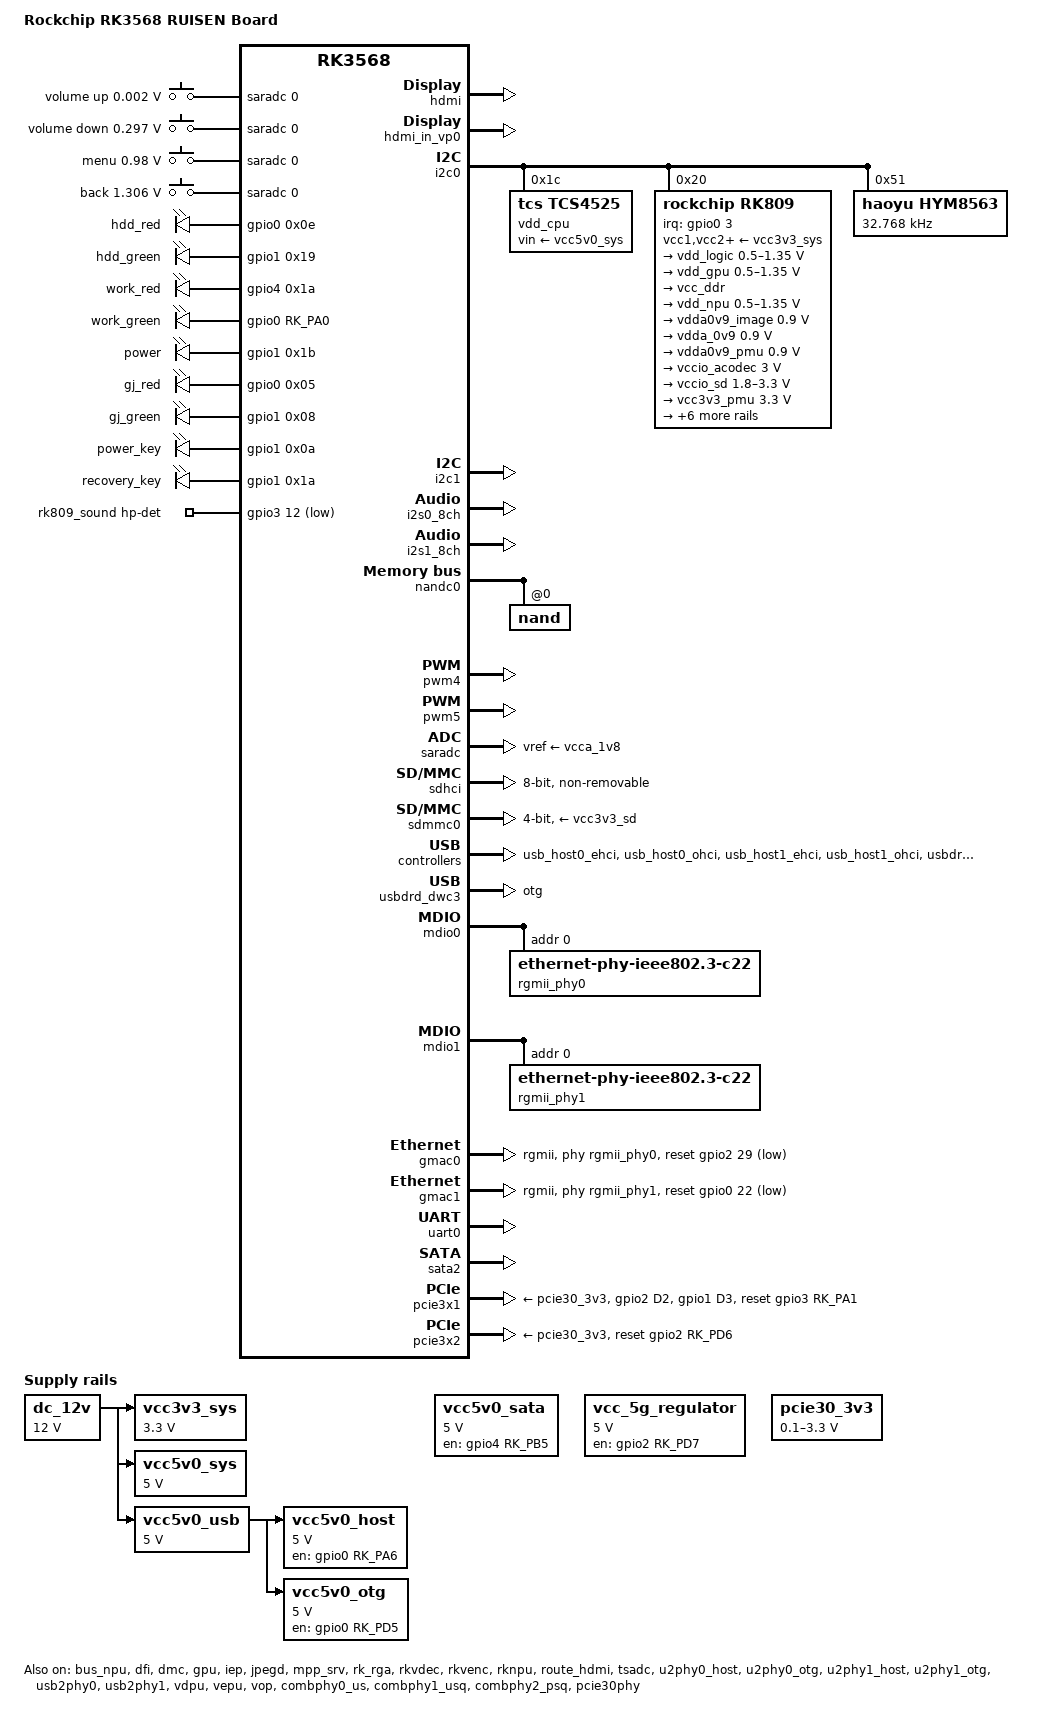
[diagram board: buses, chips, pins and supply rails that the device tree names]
// SPDX-License-Identifier: (GPL-2.0+ OR MIT)
/*
 * Copyright (c) 2020 Rockchip Electronics Co., Ltd.
 *
 */

/dts-v1/;

#include <dt-bindings/gpio/gpio.h>
#include <dt-bindings/pwm/pwm.h>
#include <dt-bindings/pinctrl/rockchip.h>
#include <dt-bindings/input/rk-input.h>
#include <dt-bindings/display/drm_mipi_dsi.h>
#include <dt-bindings/sensor-dev.h>
#include <dt-bindings/display/media-bus-format.h>
#include "rk3568.dtsi"
#include "rk3568-linux.dtsi"

/ {
	model = "Rockchip RK3568 RUISEN Board";

	chosen: chosen {
		bootargs = "earlycon=uart8250,mmio32,0xfe660000 console=ttyFIQ0";
	};

    adc_keys: adc-keys {
        compatible = "adc-keys";
        io-channels = <&saradc 0>;
        io-channel-names = "buttons";
        keyup-threshold-microvolt = <1800000>;
        poll-interval = <100>;

        vol-up-key {
            label = "volume up";
            linux,code = <115>;
            press-threshold-microvolt = <1750>;
        };

        vol-down-key {
            label = "volume down";
            linux,code = <114>;
            press-threshold-microvolt = <297500>;
        };

        menu-key {
            label = "menu";
            linux,code = <139>;
            press-threshold-microvolt = <980000>;
        };

        back-key {
            label = "back";
            linux,code = <158>;
            press-threshold-microvolt = <1305500>;
        };
    };

	audiopwmout_diff: audiopwmout-diff {
		status = "disabled";
		compatible = "simple-audio-card";
		simple-audio-card,format = "i2s";
		simple-audio-card,name = "rockchip,audiopwmout-diff";
		simple-audio-card,mclk-fs = <256>;
		simple-audio-card,bitclock-master = <&master>;
		simple-audio-card,frame-master = <&master>;
		simple-audio-card,cpu {
			sound-dai = <&i2s3_2ch>;
		};
		master: simple-audio-card,codec {
			sound-dai = <&dig_acodec>;
		};
	};

	dc_12v: dc-12v {
		compatible = "regulator-fixed";
		regulator-name = "dc_12v";
		regulator-always-on;
		regulator-boot-on;
		regulator-min-microvolt = <12000000>;
		regulator-max-microvolt = <12000000>;
	};

	hdmi_sound: hdmi-sound {
		compatible = "simple-audio-card";
		simple-audio-card,format = "i2s";
		simple-audio-card,mclk-fs = <128>;
		simple-audio-card,name = "rockchip,hdmi";
		status = "disabled";

		simple-audio-card,cpu {
				sound-dai = <&i2s0_8ch>;
		};
		simple-audio-card,codec {
				sound-dai = <&hdmi>;
		};
	};

	gpio-leds {
		compatible = "gpio-leds";

		hdd-red {
			gpios = <&gpio0 0x0e 0x00>;
			label = "hdd_red";
			default-state = "off";
		};

		hdd-green {
			gpios = <&gpio1 0x19 0x00>;
			label = "hdd_green";
			default-state = "on";
            linux,default-trigger = "disk-activity";
		};

		work-red {
			gpios = <&gpio4 0x1a 0x00>;
			label = "work_red";
			default-state = "off";
		};

		work-green {
			gpios = <&gpio0 RK_PA0 0x00>;
			label = "work_green";
			default-state = "on";
            linux,default-trigger = "heartbeat";
		};

		power {
			gpios = <&gpio1 0x1b 0x00>;
			label = "power";
			default-state = "on";
		};

		gj-red {
			gpios = <&gpio0 0x05 0x00>;
			label = "gj_red";
			default-state = "off";
		};

		gj-green {
			gpios = <&gpio1 0x08 0x00>;
			label = "gj_green";
			default-state = "on";
		};

		power-key {
			gpios = <&gpio1 0x0a 0x00>;
			label = "power_key";
			default-state = "on";
		};

		recovery-key {
			gpios = <&gpio1 0x1a 0x00>;
			label = "recovery_key";
			default-state = "on";
		};
	};


	pdmics: dummy-codec {
		status = "disabled";
		compatible = "rockchip,dummy-codec";
		#sound-dai-cells = <0>;
	};

	pdm_mic_array: pdm-mic-array {
		status = "disabled";
		compatible = "simple-audio-card";
		simple-audio-card,name = "rockchip,pdm-mic-array";
		simple-audio-card,cpu {
			sound-dai = <&pdm>;
		};
		simple-audio-card,codec {
			sound-dai = <&pdmics>;
		};
	};

	rk809_sound: rk809-sound {
		status = "okay";
		compatible = "rockchip,multicodecs-card";
		rockchip,card-name = "rockchip-rk809";
        hp-det-gpio = <&gpio3 12 GPIO_ACTIVE_LOW>;
		rockchip,format = "i2s";
		rockchip,mclk-fs = <256>;
		rockchip,cpu = <&i2s1_8ch>;
		rockchip,codec = <&rk809_codec>;
		pinctrl-names = "default";
		pinctrl-0 = <&hp_det>;
	};

	vad_sound: vad-sound {
		status = "disabled";
		compatible = "rockchip,multicodecs-card";
		rockchip,card-name = "rockchip,rk3568-vad";
		rockchip,cpu = <&i2s1_8ch>;
		rockchip,codec = <&rk809_codec>, <&vad>;
	};

	vcc3v3_sys: vcc3v3-sys {
		compatible = "regulator-fixed";
		regulator-name = "vcc3v3_sys";
		regulator-always-on;
		regulator-boot-on;
		regulator-min-microvolt = <3300000>;
		regulator-max-microvolt = <3300000>;
		vin-supply = <&dc_12v>;
	};

	vcc5v0_sys: vcc5v0-sys {
		compatible = "regulator-fixed";
		regulator-name = "vcc5v0_sys";
		regulator-always-on;
		regulator-boot-on;
		regulator-min-microvolt = <5000000>;
		regulator-max-microvolt = <5000000>;
		vin-supply = <&dc_12v>;
	};

	vcc5v0_usb: vcc5v0-usb {
		compatible = "regulator-fixed";
		regulator-name = "vcc5v0_usb";
		regulator-always-on;
		regulator-boot-on;
		regulator-min-microvolt = <5000000>;
		regulator-max-microvolt = <5000000>;
		vin-supply = <&dc_12v>;
	};

	vcc5v0_host: vcc5v0-host-regulator {
		compatible = "regulator-fixed";
		regulator-name = "vcc5v0_host";
		regulator-boot-on;
		regulator-always-on;
		regulator-min-microvolt = <5000000>;
		regulator-max-microvolt = <5000000>;
		enable-active-high;
		gpio = <&gpio0 RK_PA6 GPIO_ACTIVE_HIGH>;
		vin-supply = <&vcc5v0_usb>;
		pinctrl-names = "default";
		pinctrl-0 = <&vcc5v0_host_en>;
	};

	vcc5v0_otg: vcc5v0-otg-regulator {
		compatible = "regulator-fixed";
		regulator-name = "vcc5v0_otg";
		regulator-min-microvolt = <5000000>;
		regulator-max-microvolt = <5000000>;
		enable-active-high;
		gpio = <&gpio0 RK_PD5 GPIO_ACTIVE_HIGH>;
		vin-supply = <&vcc5v0_usb>;
		pinctrl-names = "default";
		pinctrl-0 = <&vcc5v0_otg_en>;
	};

	vcc5v0-sata-regulator {
		compatible = "regulator-fixed";
		regulator-name = "vcc5v0_sata";
		regulator-boot-on;
		regulator-always-on;
		regulator-min-microvolt = <0x4c4b40>;
		regulator-max-microvolt = <0x4c4b40>;
		enable-active-high;
		gpio = <&gpio4 RK_PB5 GPIO_ACTIVE_HIGH>;
	};

	vcc_5g_regulator: vcc-5g-regulator {
		compatible = "regulator-fixed";
		gpio = <&gpio2 RK_PD7 GPIO_ACTIVE_HIGH>;
		regulator-name = "vcc_5g";
        pinctrl-names = "default";
        pinctrl-0 = <&vcc_5g_drv>;
		regulator-boot-on;
		regulator-always-on;
		regulator-min-microvolt = <0x4c4b40>;
		regulator-max-microvolt = <0x4c4b40>;
		enable-active-high;
	};

    pcie30_3v3: gpio-regulator {
        compatible = "regulator-gpio";
        regulator-name = "pcie30_3v3";
        regulator-min-microvolt = <100000>;
        regulator-max-microvolt = <3300000>;
        gpios = <&gpio0 28 0>;
        gpios-states = <0x1>;
        states = <100000 0x0 3300000 0x1>;
    };
};

&bus_npu {
	bus-supply = <&vdd_logic>;
	pvtm-supply = <&vdd_cpu>;
	status = "okay";
};

&cpu0 {
	cpu-supply = <&vdd_cpu>;
};

&dfi {
	status = "okay";
};

&dmc {
	center-supply = <&vdd_logic>;
	status = "okay";
};

&dsi0 {
	status = "disabled";
};

&dsi1 {
	status = "disabled";
};

&gpu {
	mali-supply = <&vdd_gpu>;
	status = "okay";
    interrupt-names = "gpu", "mmu", "job";
    clock-names = "gpu", "bus";

    /delete-property/ operating-points-v2;
};

&hdmi {
	status = "okay";
	rockchip,phy-table =
		<92812500  0x8009 0x0000 0x0270>,
		<165000000 0x800b 0x0000 0x026d>,
		<185625000 0x800b 0x0000 0x01ed>,
		<297000000 0x800b 0x0000 0x01ad>,
		<594000000 0x8029 0x0000 0x0088>,
		<000000000 0x0000 0x0000 0x0000>;
};

&hdmi_in_vp0 {
	status = "okay";
};

&hdmi_in_vp1 {
	status = "disabled";
};

&hdmi_sound {
	status = "okay";
};

&i2c0 {
	status = "okay";

	vdd_cpu: tcs4525@1c {
		compatible = "tcs,tcs4525";
		reg = <0x1c>;
		vin-supply = <&vcc5v0_sys>;
		regulator-compatible = "fan53555-reg";
		regulator-name = "vdd_cpu";
		regulator-min-microvolt = <712500>;
		regulator-max-microvolt = <1390000>;
		regulator-init-microvolt = <900000>;
		regulator-ramp-delay = <2300>;
		fcs,suspend-voltage-selector = <1>;
		regulator-boot-on;
		regulator-always-on;
		regulator-state-mem {
			regulator-off-in-suspend;
		};
	};

	rk809: pmic@20 {
		compatible = "rockchip,rk809";
		reg = <0x20>;
		interrupt-parent = <&gpio0>;
		interrupts = <3 IRQ_TYPE_LEVEL_LOW>;

		pinctrl-names = "default", "pmic-sleep",
				"pmic-power-off", "pmic-reset";
		pinctrl-0 = <&pmic_int>;
		pinctrl-1 = <&soc_slppin_slp>, <&rk817_slppin_slp>;
		pinctrl-2 = <&soc_slppin_gpio>, <&rk817_slppin_pwrdn>;
		pinctrl-3 = <&soc_slppin_gpio>, <&rk817_slppin_rst>;

		rockchip,system-power-controller;
		wakeup-source;
		#clock-cells = <1>;
		clock-output-names = "rk808-clkout1", "rk808-clkout2";
		//fb-inner-reg-idxs = <2>;
		/* 1: rst regs (default in codes), 0: rst the pmic */
		pmic-reset-func = <0>;
		/* not save the PMIC_POWER_EN register in uboot */
		not-save-power-en = <1>;

		vcc1-supply = <&vcc3v3_sys>;
		vcc2-supply = <&vcc3v3_sys>;
		vcc3-supply = <&vcc3v3_sys>;
		vcc4-supply = <&vcc3v3_sys>;
		vcc5-supply = <&vcc3v3_sys>;
		vcc6-supply = <&vcc3v3_sys>;
		vcc7-supply = <&vcc3v3_sys>;
		vcc8-supply = <&vcc3v3_sys>;
		vcc9-supply = <&vcc3v3_sys>;

		pwrkey {
			status = "okay";
		};

		pinctrl_rk8xx: pinctrl_rk8xx {
			gpio-controller;
			#gpio-cells = <2>;

			rk817_slppin_null: rk817_slppin_null {
				pins = "gpio_slp";
				function = "pin_fun0";
			};

			rk817_slppin_slp: rk817_slppin_slp {
				pins = "gpio_slp";
				function = "pin_fun1";
			};

			rk817_slppin_pwrdn: rk817_slppin_pwrdn {
				pins = "gpio_slp";
				function = "pin_fun2";
			};

			rk817_slppin_rst: rk817_slppin_rst {
				pins = "gpio_slp";
				function = "pin_fun3";
			};
		};

		regulators {
			vdd_logic: DCDC_REG1 {
				regulator-always-on;
				regulator-boot-on;
				regulator-min-microvolt = <500000>;
				regulator-max-microvolt = <1350000>;
				regulator-init-microvolt = <900000>;
				regulator-ramp-delay = <6001>;
				regulator-initial-mode = <0x2>;
				regulator-name = "vdd_logic";
				regulator-state-mem {
					regulator-off-in-suspend;
				};
			};

			vdd_gpu: DCDC_REG2 {
				regulator-always-on;
				regulator-boot-on;
				regulator-min-microvolt = <500000>;
				regulator-max-microvolt = <1350000>;
				regulator-init-microvolt = <900000>;
				regulator-ramp-delay = <6001>;
				regulator-initial-mode = <0x2>;
				regulator-name = "vdd_gpu";
				regulator-state-mem {
					regulator-off-in-suspend;
				};
			};

			vcc_ddr: DCDC_REG3 {
				regulator-always-on;
				regulator-boot-on;
				regulator-initial-mode = <0x2>;
				regulator-name = "vcc_ddr";
				regulator-state-mem {
					regulator-on-in-suspend;
				};
			};

			vdd_npu: DCDC_REG4 {
				regulator-always-on;
				regulator-boot-on;
				regulator-min-microvolt = <500000>;
				regulator-max-microvolt = <1350000>;
				regulator-init-microvolt = <900000>;
				regulator-ramp-delay = <6001>;
				regulator-initial-mode = <0x2>;
				regulator-name = "vdd_npu";
				regulator-state-mem {
					regulator-off-in-suspend;
				};
			};

			vdda0v9_image: LDO_REG1 {
				regulator-boot-on;
				regulator-always-on;
				regulator-min-microvolt = <900000>;
				regulator-max-microvolt = <900000>;
				regulator-name = "vdda0v9_image";
				regulator-state-mem {
					regulator-off-in-suspend;
				};
			};

			vdda_0v9: LDO_REG2 {
				regulator-always-on;
				regulator-boot-on;
				regulator-min-microvolt = <900000>;
				regulator-max-microvolt = <900000>;
				regulator-name = "vdda_0v9";
				regulator-state-mem {
					regulator-off-in-suspend;
				};
			};

			vdda0v9_pmu: LDO_REG3 {
				regulator-always-on;
				regulator-boot-on;
				regulator-min-microvolt = <900000>;
				regulator-max-microvolt = <900000>;
				regulator-name = "vdda0v9_pmu";
				regulator-state-mem {
					regulator-on-in-suspend;
					regulator-suspend-microvolt = <900000>;
				};
			};

			vccio_acodec: LDO_REG4 {
				regulator-always-on;
				regulator-boot-on;
				regulator-min-microvolt = <3000000>;
				regulator-max-microvolt = <3000000>;
				regulator-name = "vccio_acodec";
				regulator-state-mem {
					regulator-off-in-suspend;
				};
			};

			vccio_sd: LDO_REG5 {
				regulator-always-on;
				regulator-boot-on;
				regulator-min-microvolt = <1800000>;
				regulator-max-microvolt = <3300000>;
				regulator-name = "vccio_sd";
				regulator-state-mem {
					regulator-off-in-suspend;
				};
			};

			vcc3v3_pmu: LDO_REG6 {
				regulator-always-on;
				regulator-boot-on;
				regulator-min-microvolt = <3300000>;
				regulator-max-microvolt = <3300000>;
				regulator-name = "vcc3v3_pmu";
				regulator-state-mem {
					regulator-on-in-suspend;
					regulator-suspend-microvolt = <3300000>;
				};
			};

			vcca_1v8: LDO_REG7 {
				regulator-always-on;
				regulator-boot-on;
				regulator-min-microvolt = <1800000>;
				regulator-max-microvolt = <1800000>;
				regulator-name = "vcca_1v8";
				regulator-state-mem {
					regulator-off-in-suspend;
				};
			};

			vcca1v8_pmu: LDO_REG8 {
				regulator-always-on;
				regulator-boot-on;
				regulator-min-microvolt = <1800000>;
				regulator-max-microvolt = <1800000>;
				regulator-name = "vcca1v8_pmu";
				regulator-state-mem {
					regulator-on-in-suspend;
					regulator-suspend-microvolt = <1800000>;
				};
			};

			vcca1v8_image: LDO_REG9 {
				regulator-always-on;
				regulator-boot-on;
				regulator-min-microvolt = <1800000>;
				regulator-max-microvolt = <1800000>;
				regulator-name = "vcca1v8_image";
				regulator-state-mem {
					regulator-off-in-suspend;
				};
			};

			vcc_1v8: DCDC_REG5 {
				regulator-always-on;
				regulator-boot-on;
				regulator-min-microvolt = <1800000>;
				regulator-max-microvolt = <1800000>;
				regulator-name = "vcc_1v8";
				regulator-state-mem {
					regulator-off-in-suspend;
				};
			};

			vcc_3v3: SWITCH_REG1 {
				regulator-always-on;
				regulator-boot-on;
				regulator-name = "vcc_3v3";
				regulator-state-mem {
					regulator-off-in-suspend;
				};
			};

			vcc3v3_sd: SWITCH_REG2 {
				regulator-always-on;
				regulator-boot-on;
				regulator-name = "vcc3v3_sd";
				regulator-state-mem {
					regulator-off-in-suspend;
				};
			};
		};

		rk809_codec: codec {
			#sound-dai-cells = <1>;
			compatible = "rockchip,rk809-codec", "rockchip,rk817-codec";
			clocks = <&cru I2S1_MCLKOUT>;
			clock-names = "mclk";
			assigned-clocks = <&cru I2S1_MCLKOUT>, <&cru I2S1_MCLK_TX_IOE>;
			assigned-clock-rates = <12288000>;
			assigned-clock-parents = <&cru I2S1_MCLKOUT_TX>, <&cru I2S1_MCLKOUT_TX>;
			pinctrl-names = "default";
			pinctrl-0 = <&i2s1m0_mclk>;
			hp-volume = <20>;
			spk-volume = <3>;
			mic-in-differential;
			status = "okay";
		};
	};
};

&i2c1 {
	status = "okay";
};

&i2c0 {
    status = "okay";
    hym8563: hym8563@51 {
        compatible = "haoyu,hym8563";
        reg = <0x51>;
        #clock-cells = <0>;
        clock-frequency = <32768>;
        clock-output-names = "xin32k";
        status = "okay";
    };
};

&i2s0_8ch {
	status = "okay";
};

&i2s1_8ch {
	status = "okay";
	rockchip,clk-trcm = <1>;
	pinctrl-names = "default";
	pinctrl-0 = <&i2s1m0_sclktx
		     &i2s1m0_lrcktx
		     &i2s1m0_sdi0
		     &i2s1m0_sdo0>;
};

&i2s3_2ch {
	pinctrl-0 = <&i2s3m0_sclk &i2s3m0_lrck &i2s3m0_sdi &i2s3m0_sdo>;
	rockchip,bclk-fs = <32>;
	status = "disabled";
};

&iep {
	status = "okay";
};

&iep_mmu {
	status = "okay";
};

&jpegd {
	status = "okay";
};

&jpegd_mmu {
	status = "okay";
};

&mpp_srv {
	status = "okay";
};

&nandc0 {
	#address-cells = <1>;
	#size-cells = <0>;
	status = "okay";

	nand@0 {
		reg = <0>;
		nand-bus-width = <8>;
		nand-ecc-mode = "hw";
		nand-ecc-strength = <16>;
		nand-ecc-step-size = <1024>;
	};
};

&pinctrl {

	headphone {
		hp_det: hp-det {
			rockchip,pins = <3 12 RK_FUNC_GPIO &pcfg_pull_down>;
		};
	};

	pmic {
		pmic_int: pmic_int {
			rockchip,pins =
				<0 RK_PA3 RK_FUNC_GPIO &pcfg_pull_up>;
		};

		soc_slppin_gpio: soc_slppin_gpio {
			rockchip,pins =
				<0 RK_PA2 RK_FUNC_GPIO &pcfg_output_low>;
		};

		soc_slppin_slp: soc_slppin_slp {
			rockchip,pins =
				<0 RK_PA2 1 &pcfg_pull_none>;
		};

		soc_slppin_rst: soc_slppin_rst {
			rockchip,pins =
				<0 RK_PA2 2 &pcfg_pull_none>;
		};
	};

	usb {
		vcc5v0_host_en: vcc5v0-host-en {
			rockchip,pins = <0 RK_PA6 RK_FUNC_GPIO &pcfg_pull_none>;
		};

		vcc5v0_otg_en: vcc5v0-otg-en {
			rockchip,pins = <0 RK_PD5 RK_FUNC_GPIO &pcfg_pull_none>;
		};
	};

    4g-5g-vcc {
        vcc_5g_drv: vcc-5g-drv {
            rockchip,pins =
            <2 31 0 &pcfg_output_high>,
            <4 12 0 &pcfg_output_high>,
            <0 23 0 &pcfg_output_low>,
            <3 0 0 &pcfg_output_high>;
        };
    };

    gmac {
        rgmii0_sleep_pins: rgmii0-sleep-pins {
            rockchip,pins =
            <2 28 0 &pcfg_output_low>;
        };

        rgmii1_sleep_pins: rgmii1-sleep-pins {
            rockchip,pins =
            <2 25 0 &pcfg_output_low>;
        };

    };

    pcie {
        pcie_clkreqn_cpm: pcie-clkreqn-cpm {
            rockchip,pins = <2 RK_PD2 RK_FUNC_GPIO &pcfg_pull_none>;
        };

        pcie_en: pcie-en {
            rockchip,pins = <1 RK_PD3 RK_FUNC_GPIO &pcfg_output_high>;
        };
    };
};

 /*
  * There are 10 independent IO domains in RK3566/RK3568, including PMUIO[0:2] and VCCIO[1:7].
  * 1/ PMUIO0 and PMUIO1 are fixed-level power domains which cannot be configured;
  * 2/ PMUIO2 and VCCIO1,VCCIO[3:7] domains require that their hardware power supply voltages
  *    must be consistent with the software configuration correspondingly
  *	a/ When the hardware IO level is connected to 1.8V, the software voltage configuration
  *	   should also be configured to 1.8V accordingly;
  *	b/ When the hardware IO level is connected to 3.3V, the software voltage configuration
  *	   should also be configured to 3.3V accordingly;
  * 3/ VCCIO2 voltage control selection (0xFDC20140)
  *	BIT[0]: 0x0: from GPIO_0A7 (default)
  *	BIT[0]: 0x1: from GRF
  *    Default is determined by Pin FLASH_VOL_SEL/GPIO0_A7:
  *	L:VCCIO2 must supply 3.3V
  *	H:VCCIO2 must supply 1.8V
  */
&pmu_io_domains {
    status = "okay";
    pmuio1-supply = <&vcc3v3_pmu>;
    pmuio2-supply = <&vcc3v3_pmu>;
    vccio1-supply = <&vccio_acodec>;
    vccio3-supply = <&vccio_sd>;
    vccio4-supply = <&vcc_3v3>;
    vccio5-supply = <&vcc_3v3>;
    vccio6-supply = <&vcc_3v3>;
    vccio7-supply = <&vcc_3v3>;
};

&pwm4 {
	status = "okay";
};

&pwm5 {
	status = "okay";
};

&rk_rga {
	status = "okay";
};

&rkvdec {
	status = "okay";
};

&rkvdec_mmu {
	status = "okay";
};

&rkvenc {
	venc-supply = <&vdd_logic>;
	status = "okay";
};

&rkvenc_mmu {
	status = "okay";
};

&rknpu {
	rknpu-supply = <&vdd_npu>;
	status = "okay";
};

&rknpu_mmu {
	status = "okay";
};

&route_hdmi {
	status = "okay";
	connect = <&vp0_out_hdmi>;
};

&saradc {
	status = "okay";
	vref-supply = <&vcca_1v8>;
};

&sdhci {
	bus-width = <8>;
	no-sdio;
	no-sd;
	non-removable;
	max-frequency = <200000000>;
	full-pwr-cycle-in-suspend;
	status = "okay";
};

&sdmmc0 {
	max-frequency = <150000000>;
	no-sdio;
	no-mmc;
	bus-width = <4>;
	cap-mmc-highspeed;
	cap-sd-highspeed;
	disable-wp;
	sd-uhs-sdr104;
	vmmc-supply = <&vcc3v3_sd>;
	vqmmc-supply = <&vccio_sd>;
	pinctrl-names = "default";
	pinctrl-0 = <&sdmmc0_bus4 &sdmmc0_clk &sdmmc0_cmd &sdmmc0_det>;
	status = "okay";
};

&tsadc {
	status = "okay";
};

&u2phy0_host {
	phy-supply = <&vcc5v0_host>;
	status = "okay";
};

&u2phy0_otg {
	vbus-supply = <&vcc5v0_otg>;
	status = "okay";
};

&u2phy1_host {
	phy-supply = <&vcc5v0_host>;
	status = "okay";
};

&u2phy1_otg {
	phy-supply = <&vcc5v0_host>;
	status = "okay";
};

&usb2phy0 {
	status = "okay";
};

&usb2phy1 {
	status = "okay";
};

&usb_host0_ehci {
	status = "okay";
};

&usb_host0_ohci {
	status = "okay";
};

&usb_host1_ehci {
	status = "okay";
};

&usb_host1_ohci {
	status = "okay";
};

&usbdrd_dwc3 {
	dr_mode = "otg";
	extcon = <&usb2phy0>;
	status = "okay";
};

&usbdrd30 {
	status = "okay";
};

&usbhost_dwc3 {
	status = "okay";
};

&usbhost30 {
	status = "okay";
};

&vad {
	rockchip,audio-src = <&i2s1_8ch>;
	rockchip,buffer-time-ms = <128>;
	rockchip,det-channel = <0>;
	rockchip,mode = <0>;
};

&vdpu {
	status = "okay";
};

&vdpu_mmu {
	status = "okay";
};

&vepu {
	status = "okay";
};

&vepu_mmu {
	status = "okay";
};

&vop {
	status = "okay";
	assigned-clocks = <&cru DCLK_VOP0>, <&cru DCLK_VOP1>, <&cru DCLK_VOP2>;
	assigned-clock-parents = <&pmucru PLL_HPLL>, <&cru PLL_VPLL>, <&cru PLL_GPLL>;
};

&vop_mmu {
	status = "okay";
};


&mdio0 {
	rgmii_phy0: phy@0 {
		compatible = "ethernet-phy-ieee802.3-c22";
		reg = <0x0>;
	};
};

&mdio1 {
	rgmii_phy1: phy@0 {
		compatible = "ethernet-phy-ieee802.3-c22";
		reg = <0x0>;
        /* clocks = <&cru CLK_MAC1_OUT>; */
	};
};

&gmac0 {
	phy-mode = "rgmii";
	clock_in_out = "output";

    snps,reset-gpio = <&gpio2 29 GPIO_ACTIVE_LOW>;
	snps,reset-active-low;
    snps,reset-delays-us = <0 10000 50000>;

	assigned-clocks = <&cru SCLK_GMAC0_RX_TX>, <&cru SCLK_GMAC0>;
	assigned-clock-parents = <&cru SCLK_GMAC0_RGMII_SPEED>, <&cru CLK_MAC0_2TOP>;
    assigned-clock-rates = <0>, <125000000>;
    /* assigned-clock-rates = <0>, <125000000>, <25000000>; */

	pinctrl-names = "default";
	pinctrl-0 = <&gmac0_miim
		     &gmac0_tx_bus2
		     &gmac0_rx_bus2
		     &gmac0_rgmii_clk
		     &gmac0_rgmii_bus>;
    pinctrl-1 = <&rgmii0_sleep_pins>;

	tx_delay = <0x2c>;
	rx_delay = <0x1a>;

	phy-handle = <&rgmii_phy0>;
	status = "okay";
};

&gmac1 {
    phy-mode = "rgmii";
	clock_in_out = "output";

    snps,reset-gpio = <&gpio0 22 1>;
	snps,reset-active-low;
    snps,reset-delays-us = <0 20000 100000>;

    assigned-clocks = <&cru SCLK_GMAC1_RX_TX>, <&cru SCLK_GMAC1>;
    assigned-clock-parents = <&cru SCLK_GMAC1_RGMII_SPEED>, <&cru CLK_MAC1_2TOP>;
    /* assigned-clock-rates = <0>, <125000000>; */
    assigned-clock-rates = <0>, <125000000>, <25000000>;

    pinctrl-names = "default";
    pinctrl-0 = <&gmac1m0_miim
             &gmac1m0_tx_bus2
             &gmac1m0_rx_bus2
             &gmac1m0_rgmii_clk
             &gmac1m0_rgmii_bus>;
    pinctrl-1 = <&rgmii1_sleep_pins>;


    tx_delay = <0x2c>;
    rx_delay = <0x1a>;

	phy-handle = <&rgmii_phy1>;
	status = "okay";
};

&uart0 {
	status = "okay";
	pinctrl-names = "default";
	pinctrl-0 = <&uart0_xfer &uart0_ctsn>;
};

&combphy0_us {
    status = "okay";
};

&combphy1_usq {
    status = "okay";
};

&combphy2_psq {
    status = "okay";
};

&sata2 {
	status = "okay";
};

&pcie30phy {
	status = "okay";
};

&pcie3x1 {
    rockchip,bifurcation;
    reset-gpios = <&gpio3 RK_PA1 GPIO_ACTIVE_HIGH>;
    vpcie3v3-supply = <&pcie30_3v3>;
    pinctrl-names = "default";
    pinctrl-0 = <&pcie_clkreqn_cpm &pcie_en>;
    status = "okay";
};

&pcie3x2 {
    rockchip,bifurcation;
    reset-gpios = <&gpio2 RK_PD6 GPIO_ACTIVE_HIGH>;
    vpcie3v3-supply = <&pcie30_3v3>;
    status = "okay";
};
